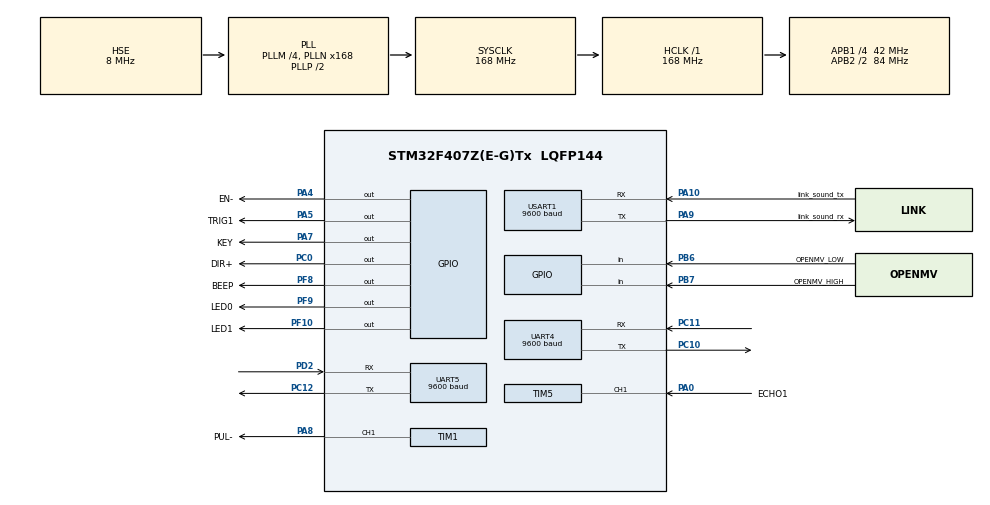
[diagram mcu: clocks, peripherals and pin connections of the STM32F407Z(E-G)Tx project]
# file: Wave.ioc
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Dma.Request0=UART5_RX
Dma.UART5_RX.0.Direction=DMA_PERIPH_TO_MEMORY
Dma.UART5_RX.0.FIFOMode=DMA_FIFOMODE_DISABLE
Dma.UART5_RX.0.Instance=DMA1_Stream0
Dma.UART5_RX.0.MemDataAlignment=DMA_MDATAALIGN_BYTE
Dma.UART5_RX.0.MemInc=DMA_MINC_ENABLE
Dma.UART5_RX.0.Mode=DMA_NORMAL
Dma.UART5_RX.0.PeriphDataAlignment=DMA_PDATAALIGN_BYTE
Dma.UART5_RX.0.PeriphInc=DMA_PINC_DISABLE
Dma.UART5_RX.0.Priority=DMA_PRIORITY_LOW
Mcu.Family=STM32F4
Mcu.Name=STM32F407Z(E-G)Tx
Mcu.Package=LQFP144
NVIC.DMA1_Stream0_IRQn=true\:0\:0\:false\:false\:true\:false\:true\:true
NVIC.PriorityGroup=NVIC_PRIORITYGROUP_4
NVIC.TIM1_CC_IRQn=true\:3\:0\:true\:false\:true\:true\:true\:true
NVIC.TIM2_IRQn=true\:4\:0\:true\:false\:true\:true\:true\:true
NVIC.TIM4_IRQn=true\:5\:0\:true\:false\:true\:true\:true\:true
NVIC.TIM5_IRQn=true\:0\:0\:false\:false\:true\:true\:true\:true
NVIC.TIM8_TRG_COM_TIM14_IRQn=true\:12\:0\:true\:false\:true\:true\:true\:true
NVIC.UART5_IRQn=true\:13\:0\:true\:false\:true\:true\:true\:true
PA0-WKUP.GPIO_Label=ECHO1
PA0-WKUP.Signal=S_TIM5_CH1
PA10.GPIO_Label=link_sound_tx
PA10.Mode=Asynchronous
PA10.Signal=USART1_RX
PA13.Mode=Serial_Wire
PA13.Signal=SYS_JTMS-SWDIO
PA14.Mode=Serial_Wire
PA14.Signal=SYS_JTCK-SWCLK
PA4.GPIO_Label=EN-
PA4.Signal=GPIO_Output
PA5.GPIO_Label=TRIG1
PA5.Signal=GPIO_Output
PA7.GPIO_Label=KEY
PA7.Signal=GPIO_Output
PA8.GPIO_Label=PUL-
PA8.Signal=S_TIM1_CH1
PA9.GPIO_Label=link_sound_rx
PA9.Mode=Asynchronous
PA9.Signal=USART1_TX
PB6.GPIO_Label=OPENMV_LOW
PB6.GPIO_PuPd=GPIO_NOPULL
PB6.Signal=GPIO_Input
PB7.GPIO_Label=OPENMV_HIGH
PB7.GPIO_PuPd=GPIO_NOPULL
PB7.Signal=GPIO_Input
PC0.GPIO_Label=DIR+
PC0.Signal=GPIO_Output
PC10.Mode=Asynchronous
PC10.Signal=UART4_TX
PC11.Mode=Asynchronous
PC11.Signal=UART4_RX
PC12.Mode=Asynchronous
PC12.Signal=UART5_TX
PD2.Mode=Asynchronous
PD2.Signal=UART5_RX
PF10.GPIO_Label=LED1
PF10.Signal=GPIO_Output
PF8.GPIO_Label=BEEP
PF8.Signal=GPIO_Output
PF9.GPIO_Label=LED0
PF9.Signal=GPIO_Output
PH0-OSC_IN.Mode=HSE-External-Oscillator
PH0-OSC_IN.Signal=RCC_OSC_IN
PH1-OSC_OUT.Mode=HSE-External-Oscillator
PH1-OSC_OUT.Signal=RCC_OSC_OUT
ProjectManager.HeapSize=0x200
ProjectManager.StackSize=0x400
ProjectManager.TargetToolchain=STM32CubeIDE
RCC.48MHZClocksFreq_Value=84000000
RCC.AHBFreq_Value=168000000
RCC.APB1CLKDivider=RCC_HCLK_DIV4
RCC.APB1Freq_Value=42000000
RCC.APB1TimFreq_Value=84000000
RCC.APB2CLKDivider=RCC_HCLK_DIV2
RCC.APB2Freq_Value=84000000
RCC.APB2TimFreq_Value=168000000
RCC.CortexFreq_Value=168000000
RCC.HCLKFreq_Value=168000000
RCC.HSE_VALUE=8000000
RCC.HSI_VALUE=16000000
RCC.LSE_VALUE=32768
RCC.PLLM=4
RCC.PLLN=168
RCC.PLLSourceVirtual=RCC_PLLSOURCE_HSE
RCC.SYSCLKFreq_VALUE=168000000
RCC.SYSCLKSource=RCC_SYSCLKSOURCE_PLLCLK
RCC.VCOOutputFreq_Value=336000000
SH.S_TIM1_CH1.0=TIM1_CH1,PWM Generation1 CH1
SH.S_TIM5_CH1.0=TIM5_CH1,Input_Capture1_from_TI1
TIM1.AutoReloadPreload=TIM_AUTORELOAD_PRELOAD_DISABLE
TIM1.Channel-PWM\ Generation1\ CH1=TIM_CHANNEL_1
TIM1.OC1Preload_PWM=DISABLE
TIM1.Period=0
TIM1.Prescaler=84-1
TIM1.Pulse-PWM\ Generation1\ CH1=((1800000/(6*32*10))/2)-1
TIM14.Period=100-1
TIM14.Prescaler=840-1
TIM2.Period=4900
TIM2.Prescaler=8400-1
TIM4.Prescaler=84
TIM5.Channel-Input_Capture1_from_TI1=TIM_CHANNEL_1
TIM5.Period=65535
TIM5.Prescaler=84
UART4.BaudRate=9600
UART4.Mode=MODE_TX
UART4.VirtualMode=Asynchronous
UART5.BaudRate=9600
UART5.Mode=MODE_RX
UART5.VirtualMode=Asynchronous
USART1.BaudRate=9600
USART1.VirtualMode=VM_ASYNC
VP_TIM14_VS_ClockSourceINT.Mode=Enable_Timer
VP_TIM1_VS_ClockSourceINT.Mode=Internal
VP_TIM2_VS_ClockSourceINT.Mode=Internal
VP_TIM4_VS_ClockSourceINT.Mode=Internal
VP_TIM5_VS_ClockSourceINT.Mode=Internal
board=custom

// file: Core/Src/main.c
/* USER CODE BEGIN Header */
/**
  ******************************************************************************
  * @file           : main.c
  * @brief          : Main program body
  ******************************************************************************
  * @attention
  *
  * Copyright (c) 2022 STMicroelectronics.
  * All rights reserved.
  *
  * This software is licensed under terms that can be found in the LICENSE file
  * in the root directory of this software component.
  * If no LICENSE file comes with this software, it is provided AS-IS.
  *
  ******************************************************************************
  */
/* USER CODE END Header */
#include "main.h"
#include "dma.h"
#include "tim.h"
#include "usart.h"
#include "gpio.h"

/* USER CODE BEGIN Includes */
#include <stdio.h>
#include "JQ8X00.h"
#include "delay.h"
#include "openmv_uart.h"
#include "motor.h"
/* USER CODE END Includes */

/* USER CODE BEGIN PV */
uint8_t isCapUp = 0;
uint32_t valueUp = 0;
uint32_t valueDown = 0;
uint16_t width = 0;
uint16_t dist = 0;
uint8_t test = 10;
uint8_t RED = 1;
uint8_t GREEN = 1;
uint8_t YELLOW = 1;
uint8_t STOP = 1;
extern uint16_t angle;
//extern uint8_t YELLOW = 1;

/* USER CODE END PV */

void SystemClock_Config(void);

/* USER CODE BEGIN 0 */

void delay_us(uint32_t time){
    __HAL_TIM_SET_COUNTER(&htim5,0);
    while(__HAL_TIM_GET_COUNTER(&htim5) < time);
}

uint16_t SRO4_Read(void){
    HAL_GPIO_WritePin(TRIG1_GPIO_Port, TRIG1_Pin, GPIO_PIN_RESET);
    delay_us(2);
    HAL_GPIO_WritePin(TRIG1_GPIO_Port, TRIG1_Pin, GPIO_PIN_SET);
    delay_us(12);
    HAL_GPIO_WritePin(TRIG1_GPIO_Port, TRIG1_Pin, GPIO_PIN_RESET);
    __HAL_TIM_ENABLE_IT(&htim5, TIM_IT_CC1);
    HAL_Delay(100);
    return dist;
}

void HAL_TIM_IC_CaptureCallback(TIM_HandleTypeDef *htim){
    if (htim->Channel == HAL_TIM_ACTIVE_CHANNEL_1){
        if (isCapUp == 0){
            isCapUp = 1;
            valueUp = HAL_TIM_ReadCapturedValue(htim,TIM_CHANNEL_1);
            __HAL_TIM_SET_CAPTUREPOLARITY(htim, TIM_CHANNEL_1, TIM_INPUTCHANNELPOLARITY_FALLING);
        }
        else if (isCapUp == 1){
            isCapUp = 0;
            valueDown = HAL_TIM_ReadCapturedValue(htim, TIM_CHANNEL_1);
            __HAL_TIM_SET_COUNTER(htim,0);
            if(valueUp < valueDown){
                width = valueDown - valueUp;
            }
            else{
                width = 65536 - valueUp + valueDown;
            }
            dist = width * 340 * 0.017 / 1000;
            __HAL_TIM_SET_CAPTUREPOLARITY(htim, TIM_CHANNEL_1, TIM_INPUTCHANNELPOLARITY_RISING);
            __HAL_TIM_DISABLE_IT(&htim5, TIM_IT_CC1);
        }
    }
}

void HAL_TIM_PeriodElapsedCallback(TIM_HandleTypeDef *htim){
    if (htim == &htim2){
        General_Function(dist);
    }
}

/* USER CODE END 0 */

int main(void)
{

  /* MCU Configuration--------------------------------------------------------*/

  /* Reset of all peripherals, Initializes the Flash interface and the Systick. */
  HAL_Init();

  /* Configure the system clock */
  SystemClock_Config();

  /* Initialize all configured peripherals */
  MX_GPIO_Init();
  MX_DMA_Init();
  MX_USART1_UART_Init();
  MX_TIM5_Init();
  MX_TIM1_Init();
  MX_UART5_Init();
  MX_TIM2_Init();
  MX_TIM4_Init();
  MX_UART4_Init();
  MX_TIM14_Init();
  /* USER CODE BEGIN 2 */
    //HAL_TIM_PWM_Start_IT(&htim1,TIM_CHANNEL_1);
    __HAL_TIM_CLEAR_IT(&htim1,TIM_IT_UPDATE ); //清除IT标志位
    HAL_GPIO_WritePin(GPIOF, GPIO_PIN_9, GPIO_PIN_SET);
    HAL_GPIO_WritePin(GPIOF, GPIO_PIN_10, GPIO_PIN_SET);
  JQ8x00_Init();
  HAL_TIM_Base_Start(&htim5);
  HAL_TIM_IC_Start_IT(&htim5, TIM_CHANNEL_1);
  __HAL_TIM_CLEAR_IT(&htim2,TIM_IT_UPDATE ); //清除IT标志位
  HAL_TIM_Base_Start_IT(&htim2);
  __HAL_TIM_CLEAR_IT(&htim4,TIM_IT_UPDATE ); //清除IT标志位
  HAL_TIM_Base_Start_IT(&htim4);
  openmvUartInit();
  HAL_TIM_Base_Start_IT(&htim14);
  MotorStop();
  JQ8x00_Command_Data(SetVolume,30);         //设置音量为30
  motorInit();
  /* USER CODE END 2 */

  /* Infinite loop */
  /* USER CODE BEGIN WHILE */

  while (1)
  {
      dist = SRO4_Read();
      motorInit();
//      HAL_Delay(100);
//      printf("distance is %d cm\r\n", SRO4_Read());
//      if (dist < 26){
//          HAL_GPIO_WritePin(GPIOF, GPIO_PIN_9, GPIO_PIN_RESET);
//          JQ8x00_Command_Data(AppointTrack ,2);
//      }
//      else{
//          HAL_GPIO_WritePin(GPIOF, GPIO_PIN_9, GPIO_PIN_SET);
//      }
//      HAL_Delay(10);
    /* USER CODE END WHILE */

  }
}

void SystemClock_Config(void)
{
  RCC_OscInitTypeDef RCC_OscInitStruct = {0};
  RCC_ClkInitTypeDef RCC_ClkInitStruct = {0};

  /** Configure the main internal regulator output voltage
  */
  __HAL_RCC_PWR_CLK_ENABLE();
  __HAL_PWR_VOLTAGESCALING_CONFIG(PWR_REGULATOR_VOLTAGE_SCALE1);

  /** Initializes the RCC Oscillators according to the specified parameters
  * in the RCC_OscInitTypeDef structure.
  */
  RCC_OscInitStruct.OscillatorType = RCC_OSCILLATORTYPE_HSE;
  RCC_OscInitStruct.HSEState = RCC_HSE_ON;
  RCC_OscInitStruct.PLL.PLLState = RCC_PLL_ON;
  RCC_OscInitStruct.PLL.PLLSource = RCC_PLLSOURCE_HSE;
  RCC_OscInitStruct.PLL.PLLM = 4;
  RCC_OscInitStruct.PLL.PLLN = 168;
  RCC_OscInitStruct.PLL.PLLP = RCC_PLLP_DIV2;
  RCC_OscInitStruct.PLL.PLLQ = 4;
  if (HAL_RCC_OscConfig(&RCC_OscInitStruct) != HAL_OK)
  {
    Error_Handler();
  }

  /** Initializes the CPU, AHB and APB buses clocks
  */
  RCC_ClkInitStruct.ClockType = RCC_CLOCKTYPE_HCLK|RCC_CLOCKTYPE_SYSCLK
                              |RCC_CLOCKTYPE_PCLK1|RCC_CLOCKTYPE_PCLK2;
  RCC_ClkInitStruct.SYSCLKSource = RCC_SYSCLKSOURCE_PLLCLK;
  RCC_ClkInitStruct.AHBCLKDivider = RCC_SYSCLK_DIV1;
  RCC_ClkInitStruct.APB1CLKDivider = RCC_HCLK_DIV4;
  RCC_ClkInitStruct.APB2CLKDivider = RCC_HCLK_DIV2;

  if (HAL_RCC_ClockConfig(&RCC_ClkInitStruct, FLASH_LATENCY_5) != HAL_OK)
  {
    Error_Handler();
  }
}

void Error_Handler(void)
{
  __disable_irq();
  while (1)
  {
  }
}
